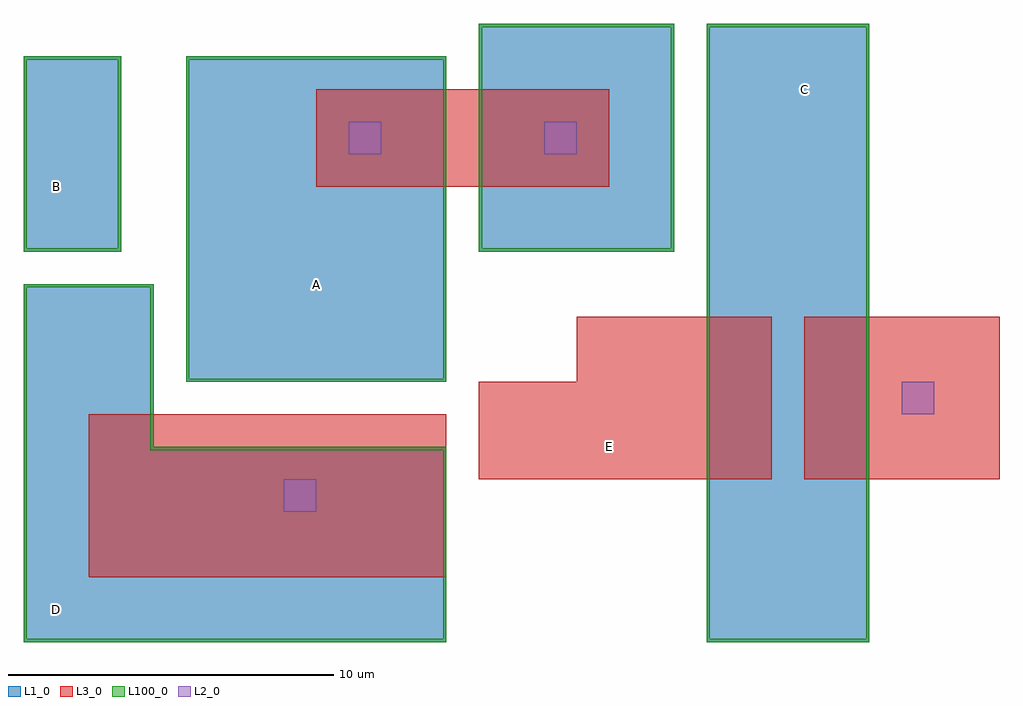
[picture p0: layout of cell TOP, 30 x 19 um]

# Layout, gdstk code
import gdstk
lib = gdstk.Library(unit=1e-6, precision=1e-09)
def R(c, l, rs):  # rectangles x0, y0, x1, y1
    for r in rs: c.add(gdstk.rectangle(r[:2], r[2:], *l))
L1_0 = (1, 0)
L2_0 = (2, 0)
L3_0 = (3, 0)
L100_0 = (100, 0)

top = lib.new_cell('TOP')
R(top, L1_0, [(-15,-10,-11,1), (-11,-10,-2,-4), (6,-10,11,9), (-10,-2,-2,8), (-15,2,-12,8), (-1,2,5,9)])
R(top, L2_0, [(-7,-6,-6,-5), (12,-3,13,-2), (-5,5,-4,6), (1,5,2,6)])
R(top, L3_0, [(-13,-8,-2,-3), (-1,-5,8,-2), (9,-5,15,0), (2,-2,8,0), (-6,4,3,7)])
R(top, L100_0, [(-15,-10,-2,-9.899), (-15,-10,-14.899,1), (-2.101,-10,-2,-8), (6,-10,6.101,-5), (6,-10,11,-9.899), (10.899,-10,11,-5), (-2.101,-8,-2,-5), (-2.101,-5,-2,-4), (6,-5,6.101,0), (10.899,-5,11,-3), (-11.101,-4.101,-11,-1.999), (-11.101,-4.101,-8.999,-4), (-11,-4.101,-10,-4), (-10,-4.101,-2,-4), (-11.101,-4,-11,-3), (-11.101,-3,-11,-2), (10.899,-3,11,-2), (-11.101,-2,-11,1), (-10,-2,-9.899,1), (-10,-2,-2,-1.899), (-2.101,-2,-2,2), (10.899,-2,11,0), (6,0,6.101,2), (10.899,0,11,9), (-15,0.899,-12,1), (-12,0.899,-11,1), (-10,1,-9.899,2), (-15,2,-14.899,8), (-15,2,-12,2.101), (-12.101,2,-12,8), (-10,2,-9.899,8), (-2.101,2,-2,4), (-1,2,-0.899,4), (-1,2,2,2.101), (2,2,5,2.101), (4.899,2,5,9), (6,2,6.101,9), (-2.101,4,-2,7), (-1,4,-0.899,7), (-2.101,7,-2,8), (-1,7,-0.899,8), (-15,7.899,-12,8), (-10,7.899,-2,8), (-1,8,-0.899,9), (-1,8.899,5,9), (6,8.899,11,9)])
top.add(gdstk.Label('A', (-6,1), layer=1, texttype=0))
top.add(gdstk.Label('B', (-14,4), layer=1, texttype=0))
top.add(gdstk.Label('C', (9,7), layer=1, texttype=0))
top.add(gdstk.Label('D', (-14,-9), layer=1, texttype=0))
top.add(gdstk.Label('E', (3,-4), layer=3, texttype=0))

lib.write_gds('TOP.gds')
